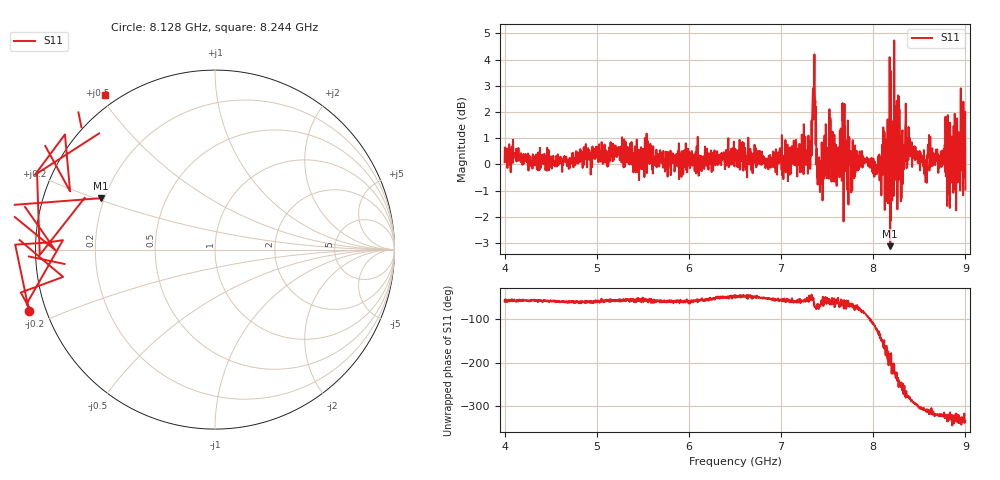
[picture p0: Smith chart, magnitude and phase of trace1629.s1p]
! Created with skrf 1.8.0 (http://scikit-rf.org).
# Hz S RI R 50.0
!freq ReS11 ImS11
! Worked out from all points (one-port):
!   1601 points, 4 GHz to 9 GHz, reference 50 ohm
!   lowest |S11| = -3.1 dB at 8.184 GHz (marker M1), VSWR 5.62, Z = 9.29 + j10.4 ohm
!   |S11| at or under -10 dB: nowhere
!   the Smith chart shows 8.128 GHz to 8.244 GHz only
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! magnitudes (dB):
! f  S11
! 4 GHz  0.1
! 4.625 GHz  -0.3
! 5.25 GHz  0.2
! 5.419 GHz  0.3
! 5.566 GHz  0.1
! 5.625 GHz  0.2
! 5.875 GHz  0.2
! 6.5 GHz  0.6
! 7.125 GHz  0.2
! 7.303 GHz  0.6
! 7.356 GHz  2.7
! 7.412 GHz  0.3
! 7.509 GHz  0.3
! 7.609 GHz  0.3
! 7.669 GHz  1.7
! 7.75 GHz  0.0
! 8.066 GHz  0.4
! 8.097 GHz  0.7
! 8.184 GHz  -3.1
! 8.253 GHz  0.7
! 8.312 GHz  1.3
! 8.334 GHz  0.7
! 8.375 GHz  1.0
! 8.556 GHz  -0.4
! 8.772 GHz  0.3
! 8.856 GHz  -0.4
! 8.972 GHz  0.7
! 9 GHz  -1.0
